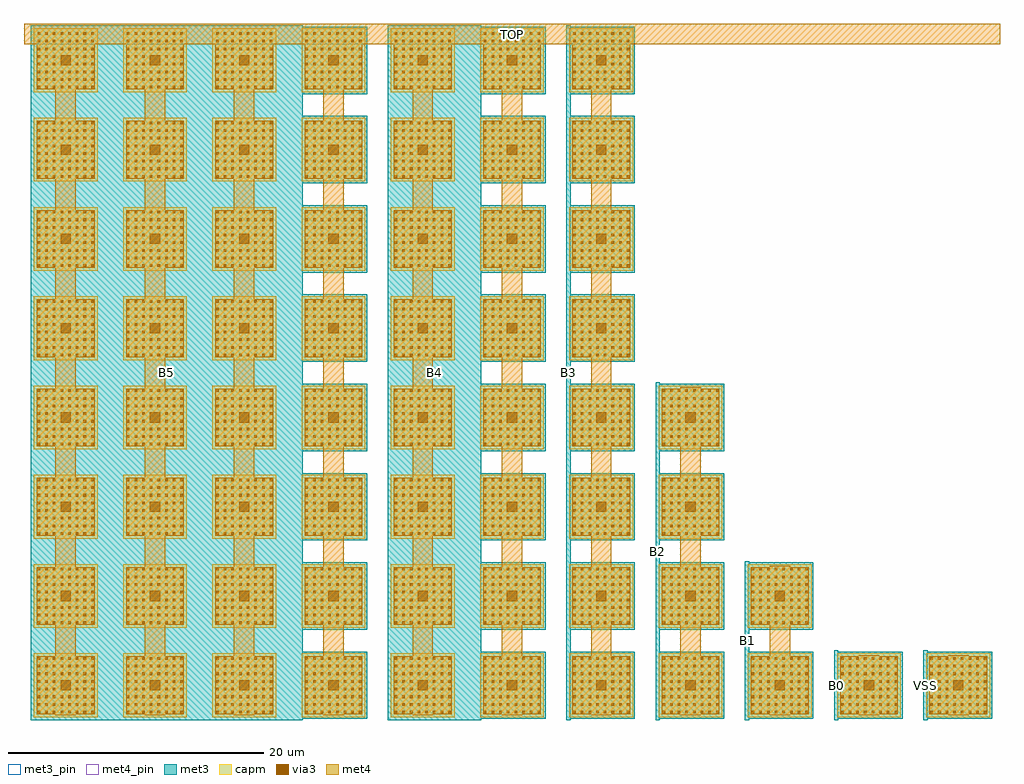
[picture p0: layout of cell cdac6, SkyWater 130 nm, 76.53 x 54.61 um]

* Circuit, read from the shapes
.subckt cdac6 B0 B1 B2 B3 B4 B5 TOP VSS
XC1 TOP B5 sky130_fd_pr__cap_mim_m3_1 w=5 l=5 m=32
XC2 TOP B4 sky130_fd_pr__cap_mim_m3_1 w=5 l=5 m=16
XC3 TOP B3 sky130_fd_pr__cap_mim_m3_1 w=5 l=5 m=8
XC4 n1 B2 sky130_fd_pr__cap_mim_m3_1 w=5 l=5 m=4
XC5 n2 B1 sky130_fd_pr__cap_mim_m3_1 w=5 l=5 m=2
XC6 n3 B0 sky130_fd_pr__cap_mim_m3_1 w=5 l=5
XC7 n4 VSS sky130_fd_pr__cap_mim_m3_1 w=5 l=5
.ends

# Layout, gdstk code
import gdstk
lib = gdstk.Library(unit=1e-6, precision=1e-09)
def R(c, l, rs):  # rectangles x0, y0, x1, y1
    for r in rs: c.add(gdstk.rectangle(r[:2], r[2:], *l))
def A(c, l, x, y, w, h, nx, ny, dx, dy):  # array of equal rectangles
    R(c, l, [(x+i*dx, y+j*dy, x+i*dx+w, y+j*dy+h) for i in range(nx) for j in range(ny)])
met3_pin = (70, 16)
met3 = (70, 20)
via3 = (70, 44)
met4_pin = (71, 16)
met4 = (71, 20)
capm = (89, 44)

cdac6 = lib.new_cell('cdac6')
R(cdac6, met3_pin, [(-0.24,-0.24,21.1,54.24), (27.76,-0.24,35.1,54.24), (41.76,-0.24,42.1,54.24), (48.76,-0.24,49.1,26.24), (55.76,-0.24,56.1,12.24), (62.76,-0.24,63.1,5.24), (69.76,-0.24,70.1,5.24)])
A(cdac6, met3, -0.14, -0.14, 5.28, 5.28, 11, 1, 7, 0)
A(cdac6, met3, -0.14, 6.86, 5.28, 5.28, 9, 1, 7, 0)
A(cdac6, met3, -0.14, 13.86, 5.28, 5.28, 8, 2, 7, 7)
A(cdac6, met3, -0.14, 27.86, 5.28, 5.28, 7, 4, 7, 7)
R(cdac6, met3, [(-0.24,-0.24,21.1,54.24), (27.76,-0.24,35.1,54.24), (41.76,-0.24,42.1,54.24), (48.76,-0.24,49.1,26.24), (55.76,-0.24,56.1,12.24), (62.76,-0.24,63.1,5.24), (69.76,-0.24,70.1,5.24)])
A(cdac6, via3, 0.3, 0.3, 0.2, 0.2, 8, 8, 0.6, 0.6)
A(cdac6, via3, 7.3, 0.3, 0.2, 0.2, 8, 8, 0.6, 0.6)
A(cdac6, via3, 14.3, 0.3, 0.2, 0.2, 8, 8, 0.6, 0.6)
A(cdac6, via3, 21.3, 0.3, 0.2, 0.2, 8, 8, 0.6, 0.6)
A(cdac6, via3, 28.3, 0.3, 0.2, 0.2, 8, 8, 0.6, 0.6)
A(cdac6, via3, 35.3, 0.3, 0.2, 0.2, 8, 8, 0.6, 0.6)
A(cdac6, via3, 42.3, 0.3, 0.2, 0.2, 8, 8, 0.6, 0.6)
A(cdac6, via3, 49.3, 0.3, 0.2, 0.2, 8, 8, 0.6, 0.6)
A(cdac6, via3, 56.3, 0.3, 0.2, 0.2, 8, 8, 0.6, 0.6)
A(cdac6, via3, 63.3, 0.3, 0.2, 0.2, 8, 8, 0.6, 0.6)
A(cdac6, via3, 70.3, 0.3, 0.2, 0.2, 8, 8, 0.6, 0.6)
A(cdac6, via3, 2.1, 2.1, 0.8, 0.8, 11, 1, 7, 0)
A(cdac6, via3, 0.3, 7.3, 0.2, 0.2, 8, 8, 0.6, 0.6)
A(cdac6, via3, 7.3, 7.3, 0.2, 0.2, 8, 8, 0.6, 0.6)
A(cdac6, via3, 14.3, 7.3, 0.2, 0.2, 8, 8, 0.6, 0.6)
A(cdac6, via3, 21.3, 7.3, 0.2, 0.2, 8, 8, 0.6, 0.6)
A(cdac6, via3, 28.3, 7.3, 0.2, 0.2, 8, 8, 0.6, 0.6)
A(cdac6, via3, 35.3, 7.3, 0.2, 0.2, 8, 8, 0.6, 0.6)
A(cdac6, via3, 42.3, 7.3, 0.2, 0.2, 8, 8, 0.6, 0.6)
A(cdac6, via3, 49.3, 7.3, 0.2, 0.2, 8, 8, 0.6, 0.6)
A(cdac6, via3, 56.3, 7.3, 0.2, 0.2, 8, 8, 0.6, 0.6)
A(cdac6, via3, 2.1, 9.1, 0.8, 0.8, 9, 1, 7, 0)
A(cdac6, via3, 0.3, 14.3, 0.2, 0.2, 8, 8, 0.6, 0.6)
A(cdac6, via3, 7.3, 14.3, 0.2, 0.2, 8, 8, 0.6, 0.6)
A(cdac6, via3, 14.3, 14.3, 0.2, 0.2, 8, 8, 0.6, 0.6)
A(cdac6, via3, 21.3, 14.3, 0.2, 0.2, 8, 8, 0.6, 0.6)
A(cdac6, via3, 28.3, 14.3, 0.2, 0.2, 8, 8, 0.6, 0.6)
A(cdac6, via3, 35.3, 14.3, 0.2, 0.2, 8, 8, 0.6, 0.6)
A(cdac6, via3, 42.3, 14.3, 0.2, 0.2, 8, 8, 0.6, 0.6)
A(cdac6, via3, 49.3, 14.3, 0.2, 0.2, 8, 8, 0.6, 0.6)
A(cdac6, via3, 2.1, 16.1, 0.8, 0.8, 8, 2, 7, 7)
A(cdac6, via3, 0.3, 21.3, 0.2, 0.2, 8, 8, 0.6, 0.6)
A(cdac6, via3, 7.3, 21.3, 0.2, 0.2, 8, 8, 0.6, 0.6)
A(cdac6, via3, 14.3, 21.3, 0.2, 0.2, 8, 8, 0.6, 0.6)
A(cdac6, via3, 21.3, 21.3, 0.2, 0.2, 8, 8, 0.6, 0.6)
A(cdac6, via3, 28.3, 21.3, 0.2, 0.2, 8, 8, 0.6, 0.6)
A(cdac6, via3, 35.3, 21.3, 0.2, 0.2, 8, 8, 0.6, 0.6)
A(cdac6, via3, 42.3, 21.3, 0.2, 0.2, 8, 8, 0.6, 0.6)
A(cdac6, via3, 49.3, 21.3, 0.2, 0.2, 8, 8, 0.6, 0.6)
A(cdac6, via3, 0.3, 28.3, 0.2, 0.2, 8, 8, 0.6, 0.6)
A(cdac6, via3, 7.3, 28.3, 0.2, 0.2, 8, 8, 0.6, 0.6)
A(cdac6, via3, 14.3, 28.3, 0.2, 0.2, 8, 8, 0.6, 0.6)
A(cdac6, via3, 21.3, 28.3, 0.2, 0.2, 8, 8, 0.6, 0.6)
A(cdac6, via3, 28.3, 28.3, 0.2, 0.2, 8, 8, 0.6, 0.6)
A(cdac6, via3, 35.3, 28.3, 0.2, 0.2, 8, 8, 0.6, 0.6)
A(cdac6, via3, 42.3, 28.3, 0.2, 0.2, 8, 8, 0.6, 0.6)
A(cdac6, via3, 2.1, 30.1, 0.8, 0.8, 7, 4, 7, 7)
A(cdac6, via3, 0.3, 35.3, 0.2, 0.2, 8, 8, 0.6, 0.6)
A(cdac6, via3, 7.3, 35.3, 0.2, 0.2, 8, 8, 0.6, 0.6)
A(cdac6, via3, 14.3, 35.3, 0.2, 0.2, 8, 8, 0.6, 0.6)
A(cdac6, via3, 21.3, 35.3, 0.2, 0.2, 8, 8, 0.6, 0.6)
A(cdac6, via3, 28.3, 35.3, 0.2, 0.2, 8, 8, 0.6, 0.6)
A(cdac6, via3, 35.3, 35.3, 0.2, 0.2, 8, 8, 0.6, 0.6)
A(cdac6, via3, 42.3, 35.3, 0.2, 0.2, 8, 8, 0.6, 0.6)
A(cdac6, via3, 0.3, 42.3, 0.2, 0.2, 8, 8, 0.6, 0.6)
A(cdac6, via3, 7.3, 42.3, 0.2, 0.2, 8, 8, 0.6, 0.6)
A(cdac6, via3, 14.3, 42.3, 0.2, 0.2, 8, 8, 0.6, 0.6)
A(cdac6, via3, 21.3, 42.3, 0.2, 0.2, 8, 8, 0.6, 0.6)
A(cdac6, via3, 28.3, 42.3, 0.2, 0.2, 8, 8, 0.6, 0.6)
A(cdac6, via3, 35.3, 42.3, 0.2, 0.2, 8, 8, 0.6, 0.6)
A(cdac6, via3, 42.3, 42.3, 0.2, 0.2, 8, 8, 0.6, 0.6)
A(cdac6, via3, 0.3, 49.3, 0.2, 0.2, 8, 8, 0.6, 0.6)
A(cdac6, via3, 7.3, 49.3, 0.2, 0.2, 8, 8, 0.6, 0.6)
A(cdac6, via3, 14.3, 49.3, 0.2, 0.2, 8, 8, 0.6, 0.6)
A(cdac6, via3, 21.3, 49.3, 0.2, 0.2, 8, 8, 0.6, 0.6)
A(cdac6, via3, 28.3, 49.3, 0.2, 0.2, 8, 8, 0.6, 0.6)
A(cdac6, via3, 35.3, 49.3, 0.2, 0.2, 8, 8, 0.6, 0.6)
A(cdac6, via3, 42.3, 49.3, 0.2, 0.2, 8, 8, 0.6, 0.6)
R(cdac6, met4_pin, [(-0.765,52.765,75.765,54.365)])
A(cdac6, met4, 1.7, 0.135, 1.6, 53.73, 7, 1, 7, 0)
A(cdac6, met4, 0.235, 0.235, 4.53, 4.53, 11, 1, 7, 0)
A(cdac6, met4, 1.7, 1.7, 1.6, 1.6, 11, 1, 7, 0)
A(cdac6, met4, 0.235, 7.235, 4.53, 4.53, 9, 1, 7, 0)
A(cdac6, met4, 1.7, 8.7, 1.6, 1.6, 9, 1, 7, 0)
A(cdac6, met4, 0.235, 14.235, 4.53, 4.53, 8, 2, 7, 7)
A(cdac6, met4, 1.7, 15.7, 1.6, 1.6, 8, 2, 7, 7)
A(cdac6, met4, 0.235, 28.235, 4.53, 4.53, 7, 4, 7, 7)
A(cdac6, met4, 1.7, 29.7, 1.6, 1.6, 7, 4, 7, 7)
R(cdac6, met4, [(50.7,0.135,52.3,25.865), (57.7,0.135,59.3,11.865), (64.7,0.135,66.3,4.865), (71.7,0.135,73.3,4.865), (-0.765,52.765,75.765,54.365)])
A(cdac6, capm, 0, 0, 5, 5, 11, 1, 7, 0)
A(cdac6, capm, 0, 7, 5, 5, 9, 1, 7, 0)
A(cdac6, capm, 0, 14, 5, 5, 8, 2, 7, 7)
A(cdac6, capm, 0, 28, 5, 5, 7, 4, 7, 7)
cdac6.add(gdstk.Label('B5', (10.43,27), layer=70, texttype=16))
cdac6.add(gdstk.Label('B4', (31.43,27), layer=70, texttype=16))
cdac6.add(gdstk.Label('B3', (41.93,27), layer=70, texttype=16))
cdac6.add(gdstk.Label('B2', (48.93,13), layer=70, texttype=16))
cdac6.add(gdstk.Label('B1', (55.93,6), layer=70, texttype=16))
cdac6.add(gdstk.Label('B0', (62.93,2.5), layer=70, texttype=16))
cdac6.add(gdstk.Label('VSS', (69.93,2.5), layer=70, texttype=16))
cdac6.add(gdstk.Label('B5', (10.43,27), layer=70, texttype=5))
cdac6.add(gdstk.Label('B4', (31.43,27), layer=70, texttype=5))
cdac6.add(gdstk.Label('B3', (41.93,27), layer=70, texttype=5))
cdac6.add(gdstk.Label('B2', (48.93,13), layer=70, texttype=5))
cdac6.add(gdstk.Label('B1', (55.93,6), layer=70, texttype=5))
cdac6.add(gdstk.Label('B0', (62.93,2.5), layer=70, texttype=5))
cdac6.add(gdstk.Label('VSS', (69.93,2.5), layer=70, texttype=5))
cdac6.add(gdstk.Label('TOP', (37.5,53.565), layer=71, texttype=16))
cdac6.add(gdstk.Label('TOP', (37.5,53.565), layer=71, texttype=5))

lib.write_gds('cdac6.gds')
